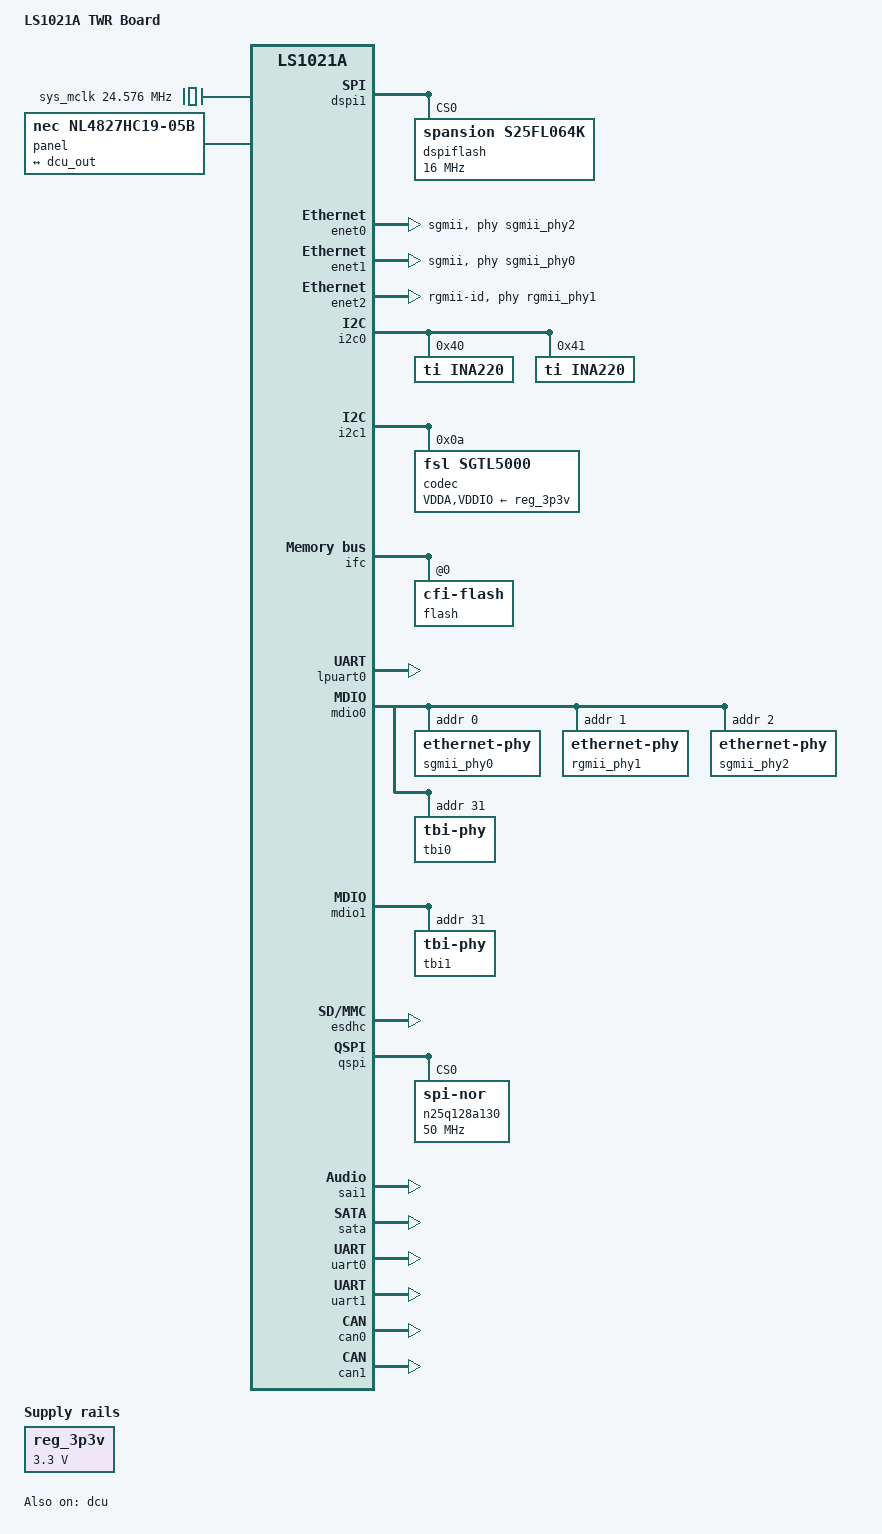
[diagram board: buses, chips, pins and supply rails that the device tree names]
// SPDX-License-Identifier: (GPL-2.0+ OR MIT)
/*
 * Copyright 2013-2014 Freescale Semiconductor, Inc.
 * Copyright 2018 NXP
 */

/dts-v1/;
#include "ls1021a.dtsi"

/ {
	model = "LS1021A TWR Board";
	compatible = "fsl,ls1021a-twr", "fsl,ls1021a";

	aliases {
		enet2_rgmii_phy = &rgmii_phy1;
		enet0_sgmii_phy = &sgmii_phy2;
		enet1_sgmii_phy = &sgmii_phy0;
	};

	sys_mclk: clock-mclk {
		compatible = "fixed-clock";
		#clock-cells = <0>;
		clock-frequency = <24576000>;
	};

	reg_3p3v: regulator {
		compatible = "regulator-fixed";
		regulator-name = "3P3V";
		regulator-min-microvolt = <3300000>;
		regulator-max-microvolt = <3300000>;
		regulator-always-on;
	};

	sound {
		compatible = "simple-audio-card";
		simple-audio-card,format = "i2s";
		simple-audio-card,widgets =
			"Microphone", "Microphone Jack",
			"Headphone", "Headphone Jack",
			"Speaker", "Speaker Ext",
			"Line", "Line In Jack";
		simple-audio-card,routing =
			"MIC_IN", "Microphone Jack",
			"Microphone Jack", "Mic Bias",
			"LINE_IN", "Line In Jack",
			"Headphone Jack", "HP_OUT",
			"Speaker Ext", "LINE_OUT";

		simple-audio-card,cpu {
			sound-dai = <&sai1>;
			frame-master;
			bitclock-master;
		};

		simple-audio-card,codec {
			sound-dai = <&codec>;
			frame-master;
			bitclock-master;
		};
	};

	panel: panel {
		compatible = "nec,nl4827hc19-05b";

		port {
			panel_in: endpoint {
				remote-endpoint = <&dcu_out>;
			};
		};
	};
};

&dcu {
	status = "okay";

	port {
		dcu_out: endpoint {
			remote-endpoint = <&panel_in>;
		};
	};
};

&dspi1 {
	bus-num = <0>;
	status = "okay";

	dspiflash: s25fl064k@0 {
		#address-cells = <1>;
		#size-cells = <1>;
		compatible = "spansion,s25fl064k";
		spi-max-frequency = <16000000>;
		spi-cpol;
		spi-cpha;
		reg = <0>;
	};
};

&enet0 {
	tbi-handle = <&tbi0>;
	phy-handle = <&sgmii_phy2>;
	phy-connection-type = "sgmii";
	status = "okay";
};

&enet1 {
	tbi-handle = <&tbi1>;
	phy-handle = <&sgmii_phy0>;
	phy-connection-type = "sgmii";
	status = "okay";
};

&enet2 {
	phy-handle = <&rgmii_phy1>;
	phy-connection-type = "rgmii-id";
	status = "okay";
};

&i2c0 {
	status = "okay";

	ina220@40 {
		compatible = "ti,ina220";
		reg = <0x40>;
		shunt-resistor = <1000>;
	};

	ina220@41 {
		compatible = "ti,ina220";
		reg = <0x41>;
		shunt-resistor = <1000>;
	};

};

&i2c1 {
	status = "okay";
	codec: sgtl5000@a {
		#sound-dai-cells = <0>;
		compatible = "fsl,sgtl5000";
		reg = <0x0a>;
		VDDA-supply = <&reg_3p3v>;
		VDDIO-supply = <&reg_3p3v>;
		clocks = <&sys_mclk>;
	};
};

&ifc {
	#address-cells = <2>;
	#size-cells = <1>;
	/* NOR Flash on board */
	ranges = <0x0 0x0 0x0 0x60000000 0x08000000>;
	status = "okay";

	flash@0,0 {
		#address-cells = <1>;
		#size-cells = <1>;
		compatible = "cfi-flash";
		reg = <0x0 0x0 0x8000000>;
		big-endian;
		bank-width = <2>;
		device-width = <1>;
	};
};

&lpuart0 {
	status = "okay";
};

&mdio0 {
	sgmii_phy0: ethernet-phy@0 {
		reg = <0x0>;
	};
	rgmii_phy1: ethernet-phy@1 {
		reg = <0x1>;
	};
	sgmii_phy2: ethernet-phy@2 {
		reg = <0x2>;
	};
	tbi0: tbi-phy@1f {
		reg = <0x1f>;
		device_type = "tbi-phy";
	};
};

&mdio1 {
	tbi1: tbi-phy@1f {
		reg = <0x1f>;
		device_type = "tbi-phy";
	};
};

&esdhc {
        status = "okay";
};

&qspi {
	status = "okay";

	n25q128a130: flash@0 {
		compatible = "jedec,spi-nor";
		#address-cells = <1>;
		#size-cells = <1>;
		spi-max-frequency = <50000000>;
		reg = <0>;
		spi-rx-bus-width = <4>;
		spi-tx-bus-width = <4>;
	};
};

&sai1 {
	status = "okay";
};

&sata {
	status = "okay";
};

&uart0 {
	status = "okay";
};

&uart1 {
	status = "okay";
};

&can0 {
	status = "okay";
};

&can1 {
	status = "okay";
};

&can2 {
	status = "disabled";
};

&can3 {
	status = "disabled";
};
